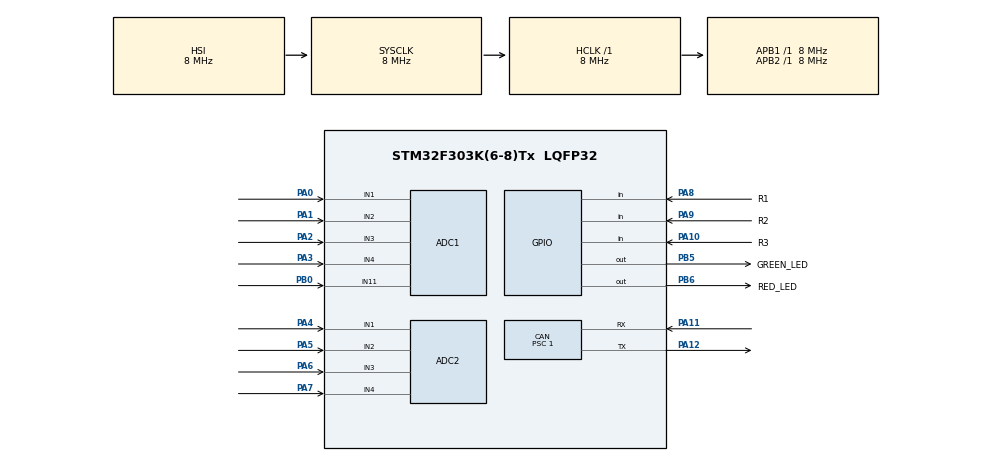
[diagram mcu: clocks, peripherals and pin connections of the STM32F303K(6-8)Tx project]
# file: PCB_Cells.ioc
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ADC1.Channel-0\#ChannelRegularConversion=ADC_CHANNEL_1
ADC1.Channel-1\#ChannelRegularConversion=ADC_CHANNEL_2
ADC1.Channel-2\#ChannelRegularConversion=ADC_CHANNEL_3
ADC1.Channel-3\#ChannelRegularConversion=ADC_CHANNEL_4
ADC1.Channel-4\#ChannelRegularConversion=ADC_CHANNEL_11
ADC1.ContinuousConvMode=ENABLE
ADC1.DMAContinuousRequests=ENABLE
ADC1.EOCSelection=ADC_EOC_SINGLE_CONV
ADC1.Mode=ADC_DUALMODE_REGSIMULT
ADC1.NbrOfConversion=5
ADC1.NbrOfConversionFlag=1
ADC1.Offset-0\#ChannelRegularConversion=0
ADC1.Offset-1\#ChannelRegularConversion=0
ADC1.Offset-2\#ChannelRegularConversion=0
ADC1.Offset-3\#ChannelRegularConversion=0
ADC1.Offset-4\#ChannelRegularConversion=0
ADC1.OffsetNumber-0\#ChannelRegularConversion=ADC_OFFSET_NONE
ADC1.OffsetNumber-1\#ChannelRegularConversion=ADC_OFFSET_NONE
ADC1.OffsetNumber-2\#ChannelRegularConversion=ADC_OFFSET_NONE
ADC1.OffsetNumber-3\#ChannelRegularConversion=ADC_OFFSET_NONE
ADC1.OffsetNumber-4\#ChannelRegularConversion=ADC_OFFSET_NONE
ADC1.Rank-0\#ChannelRegularConversion=1
ADC1.Rank-1\#ChannelRegularConversion=2
ADC1.Rank-2\#ChannelRegularConversion=3
ADC1.Rank-3\#ChannelRegularConversion=4
ADC1.Rank-4\#ChannelRegularConversion=5
ADC1.SamplingTime-0\#ChannelRegularConversion=ADC_SAMPLETIME_2CYCLES_5
ADC1.SamplingTime-1\#ChannelRegularConversion=ADC_SAMPLETIME_2CYCLES_5
ADC1.SamplingTime-2\#ChannelRegularConversion=ADC_SAMPLETIME_2CYCLES_5
ADC1.SamplingTime-3\#ChannelRegularConversion=ADC_SAMPLETIME_2CYCLES_5
ADC1.SamplingTime-4\#ChannelRegularConversion=ADC_SAMPLETIME_2CYCLES_5
ADC1.SubFamily=STM32F303x8
ADC1.TwoSamplingDelay=ADC_TWOSAMPLINGDELAY_2CYCLES
ADC1.master=1
ADC2.Channel-0\#ChannelRegularConversion=ADC_CHANNEL_1
ADC2.Channel-1\#ChannelRegularConversion=ADC_CHANNEL_2
ADC2.Channel-2\#ChannelRegularConversion=ADC_CHANNEL_3
ADC2.Channel-3\#ChannelRegularConversion=ADC_CHANNEL_4
ADC2.Channel-4\#ChannelRegularConversion=ADC_CHANNEL_1
ADC2.ContinuousConvMode=ENABLE
ADC2.DMAContinuousRequests=ENABLE
ADC2.EOCSelection=ADC_EOC_SINGLE_CONV
ADC2.Mode=ADC_DUALMODE_REGSIMULT
ADC2.NbrOfConversion=5
ADC2.NbrOfConversionFlag=1
ADC2.Offset-0\#ChannelRegularConversion=0
ADC2.Offset-1\#ChannelRegularConversion=0
ADC2.Offset-2\#ChannelRegularConversion=0
ADC2.Offset-3\#ChannelRegularConversion=0
ADC2.Offset-4\#ChannelRegularConversion=0
ADC2.OffsetNumber-0\#ChannelRegularConversion=ADC_OFFSET_NONE
ADC2.OffsetNumber-1\#ChannelRegularConversion=ADC_OFFSET_NONE
ADC2.OffsetNumber-2\#ChannelRegularConversion=ADC_OFFSET_NONE
ADC2.OffsetNumber-3\#ChannelRegularConversion=ADC_OFFSET_NONE
ADC2.OffsetNumber-4\#ChannelRegularConversion=ADC_OFFSET_NONE
ADC2.Rank-0\#ChannelRegularConversion=1
ADC2.Rank-1\#ChannelRegularConversion=2
ADC2.Rank-2\#ChannelRegularConversion=3
ADC2.Rank-3\#ChannelRegularConversion=4
ADC2.Rank-4\#ChannelRegularConversion=5
ADC2.SamplingTime-0\#ChannelRegularConversion=ADC_SAMPLETIME_2CYCLES_5
ADC2.SamplingTime-1\#ChannelRegularConversion=ADC_SAMPLETIME_2CYCLES_5
ADC2.SamplingTime-2\#ChannelRegularConversion=ADC_SAMPLETIME_2CYCLES_5
ADC2.SamplingTime-3\#ChannelRegularConversion=ADC_SAMPLETIME_2CYCLES_5
ADC2.SamplingTime-4\#ChannelRegularConversion=ADC_SAMPLETIME_2CYCLES_5
ADC2.SamplingTimeOPAMP-3\#ChannelRegularConversion=ADC_SAMPLETIME_4CYCLES_5
ADC2.SamplingTimeOPAMP-4\#ChannelRegularConversion=ADC_SAMPLETIME_7CYCLES_5
ADC2.SubFamily=STM32F303x8
ADC2.TwoSamplingDelay=ADC_TWOSAMPLINGDELAY_2CYCLES
CAN.AWUM=ENABLE
CAN.BS1=CAN_BS1_7TQ
CAN.BS2=CAN_BS2_8TQ
CAN.CalculateBaudRate=500000
CAN.CalculateTimeBit=2000
CAN.CalculateTimeQuantum=125.0
CAN.Prescaler=1
Dma.ADC1.0.Direction=DMA_PERIPH_TO_MEMORY
Dma.ADC1.0.Instance=DMA1_Channel1
Dma.ADC1.0.MemDataAlignment=DMA_MDATAALIGN_WORD
Dma.ADC1.0.MemInc=DMA_MINC_ENABLE
Dma.ADC1.0.Mode=DMA_CIRCULAR
Dma.ADC1.0.PeriphDataAlignment=DMA_PDATAALIGN_WORD
Dma.ADC1.0.PeriphInc=DMA_PINC_DISABLE
Dma.ADC1.0.Priority=DMA_PRIORITY_LOW
Dma.ADC2.1.Direction=DMA_PERIPH_TO_MEMORY
Dma.ADC2.1.Instance=DMA1_Channel2
Dma.ADC2.1.MemDataAlignment=DMA_MDATAALIGN_WORD
Dma.ADC2.1.MemInc=DMA_MINC_ENABLE
Dma.ADC2.1.Mode=DMA_CIRCULAR
Dma.ADC2.1.PeriphDataAlignment=DMA_PDATAALIGN_WORD
Dma.ADC2.1.PeriphInc=DMA_PINC_DISABLE
Dma.ADC2.1.Priority=DMA_PRIORITY_LOW
Dma.Request0=ADC1
Dma.Request1=ADC2
Mcu.Family=STM32F3
Mcu.Name=STM32F303K(6-8)Tx
Mcu.Package=LQFP32
NVIC.ADC1_2_IRQn=true\:1\:0\:true\:false\:true\:true\:true\:true
NVIC.DMA1_Channel1_IRQn=true\:0\:0\:false\:false\:true\:false\:true\:true
NVIC.DMA1_Channel2_IRQn=true\:0\:0\:false\:false\:true\:false\:true\:true
NVIC.PriorityGroup=NVIC_PRIORITYGROUP_4
PA0.Mode=IN1-Single-Ended
PA0.Signal=ADC1_IN1
PA1.Mode=IN2-Single-Ended
PA1.Signal=ADC1_IN2
PA10.GPIO_Label=R3
PA10.GPIO_PuPd=GPIO_PULLUP
PA10.Signal=GPIO_Input
PA11.Mode=CAN_Activate
PA11.Signal=CAN_RX
PA12.Mode=CAN_Activate
PA12.Signal=CAN_TX
PA13.Mode=Serial_Wire
PA13.Signal=SYS_JTMS-SWDIO
PA14.Mode=Serial_Wire
PA14.Signal=SYS_JTCK-SWCLK
PA2.Mode=IN3-Single-Ended
PA2.Signal=ADC1_IN3
PA3.Mode=IN4-Single-Ended
PA3.Signal=ADC1_IN4
PA4.Mode=IN1-Single-Ended
PA4.Signal=ADC2_IN1
PA5.Mode=IN2-Single-Ended
PA5.Signal=ADC2_IN2
PA6.Mode=IN3-Single-Ended
PA6.Signal=ADC2_IN3
PA7.Mode=IN4-Single-Ended
PA7.Signal=ADC2_IN4
PA8.GPIO_Label=R1
PA8.GPIO_PuPd=GPIO_PULLUP
PA8.Signal=GPIO_Input
PA9.GPIO_Label=R2
PA9.GPIO_PuPd=GPIO_PULLUP
PA9.Signal=GPIO_Input
PB0.Mode=IN11-Single-Ended
PB0.Signal=ADC1_IN11
PB5.GPIO_Label=GREEN_LED
PB5.Signal=GPIO_Output
PB6.GPIO_Label=RED_LED
PB6.Signal=GPIO_Output
ProjectManager.HeapSize=0x200
ProjectManager.StackSize=0x400
ProjectManager.TargetToolchain=STM32CubeIDE
RCC.ADC12PRES=RCC_ADC12PLLCLK_DIV16
RCC.AHBFreq_Value=8000000
RCC.APB1Freq_Value=8000000
RCC.APB1TimFreq_Value=8000000
RCC.APB2Freq_Value=8000000
RCC.APB2TimFreq_Value=8000000
RCC.CortexFreq_Value=8000000
RCC.HCLKFreq_Value=8000000
RCC.HSE_VALUE=8000000
RCC.HSI_VALUE=8000000
RCC.PLLMUL=RCC_PLL_MUL4
RCC.SYSCLKFreq_VALUE=8000000
board=custom

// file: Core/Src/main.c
/* USER CODE BEGIN Header */
/**
  ******************************************************************************
  * @file           : main.c
  * @brief          : Main program body
  ******************************************************************************
  * @attention
  *
  * Copyright (c) 2026 STMicroelectronics.
  * All rights reserved.
  *
  * This software is licensed under terms that can be found in the LICENSE file
  * in the root directory of this software component.
  * If no LICENSE file comes with this software, it is provided AS-IS.
  *
  ******************************************************************************
  */
/* USER CODE END Header */
#include "main.h"
#include "adc.h"
#include "can.h"
#include "dma.h"
#include "gpio.h"

/* USER CODE BEGIN Includes */
#include "pcb_cells.h"
/* USER CODE END Includes */

/* USER CODE BEGIN PV */
PCBCells_TypeDef  pcbCells;
uint32_t lastTick; 			// tick variable for providing LEDs blinking
/* USER CODE END PV */

void SystemClock_Config(void);

int main(void)
{

  /* MCU Configuration--------------------------------------------------------*/

  /* Reset of all peripherals, Initializes the Flash interface and the Systick. */
  HAL_Init();

  /* Configure the system clock */
  SystemClock_Config();

  /* Initialize all configured peripherals */
  MX_GPIO_Init();
  MX_DMA_Init();
  MX_ADC1_Init();
  MX_ADC2_Init();
  MX_CAN_Init();
  /* USER CODE BEGIN 2 */

  // Initialization of PCB Cells object
  if(PCBCells_Init(&pcbCells, &hadc1, &hadc2, &hcan) != HAL_OK){
	  if(PCBCells_Mode_Change(&pcbCells, PCBCELLS_ERROR) != HAL_OK){
		  // handling error
	  }
  }

  /* USER CODE END 2 */

  /* Infinite loop */
  /* USER CODE BEGIN WHILE */

  // reading current tick
  lastTick = HAL_GetTick();
  while (1)
  {
	  // Blink diode in order co-related to current Cells' PCB's state
	  PCBCells_Mode_Blink(&pcbCells);

	  // State machine
	  switch(pcbCells.currStatus){

	  	  // Executing PCBCells functionalities in normal mode
		  case PCBCELLS_ACTIVE:

			  if(PCBCells_Mode_Normal(&pcbCells) != HAL_OK){
				  if(PCBCells_Mode_Change(&pcbCells, PCBCELLS_ERROR) != HAL_OK){
					  // handling error
				  }
			  }

			  break;

		  // Executing PCBCells functionalities in error mode
		  case PCBCELLS_ERROR:

			  if(PCBCells_Mode_Error(&pcbCells) != HAL_OK){
				  // handling error
			  }

			  break;
		  default:

			  // handling error
			  break;
	  }

    /* USER CODE END WHILE */

  }
}

void SystemClock_Config(void)
{
  RCC_OscInitTypeDef RCC_OscInitStruct = {0};
  RCC_ClkInitTypeDef RCC_ClkInitStruct = {0};
  RCC_PeriphCLKInitTypeDef PeriphClkInit = {0};

  /** Initializes the RCC Oscillators according to the specified parameters
  * in the RCC_OscInitTypeDef structure.
  */
  RCC_OscInitStruct.OscillatorType = RCC_OSCILLATORTYPE_HSI;
  RCC_OscInitStruct.HSIState = RCC_HSI_ON;
  RCC_OscInitStruct.HSICalibrationValue = RCC_HSICALIBRATION_DEFAULT;
  RCC_OscInitStruct.PLL.PLLState = RCC_PLL_ON;
  RCC_OscInitStruct.PLL.PLLSource = RCC_PLLSOURCE_HSI;
  RCC_OscInitStruct.PLL.PLLMUL = RCC_PLL_MUL4;
  if (HAL_RCC_OscConfig(&RCC_OscInitStruct) != HAL_OK)
  {
    Error_Handler();
  }

  /** Initializes the CPU, AHB and APB buses clocks
  */
  RCC_ClkInitStruct.ClockType = RCC_CLOCKTYPE_HCLK|RCC_CLOCKTYPE_SYSCLK
                              |RCC_CLOCKTYPE_PCLK1|RCC_CLOCKTYPE_PCLK2;
  RCC_ClkInitStruct.SYSCLKSource = RCC_SYSCLKSOURCE_HSI;
  RCC_ClkInitStruct.AHBCLKDivider = RCC_SYSCLK_DIV1;
  RCC_ClkInitStruct.APB1CLKDivider = RCC_HCLK_DIV1;
  RCC_ClkInitStruct.APB2CLKDivider = RCC_HCLK_DIV1;

  if (HAL_RCC_ClockConfig(&RCC_ClkInitStruct, FLASH_LATENCY_0) != HAL_OK)
  {
    Error_Handler();
  }
  PeriphClkInit.PeriphClockSelection = RCC_PERIPHCLK_ADC12;
  PeriphClkInit.Adc12ClockSelection = RCC_ADC12PLLCLK_DIV16;
  if (HAL_RCCEx_PeriphCLKConfig(&PeriphClkInit) != HAL_OK)
  {
    Error_Handler();
  }
}

void Error_Handler(void)
{
  __disable_irq();
  while (1)
  {
  }
}
